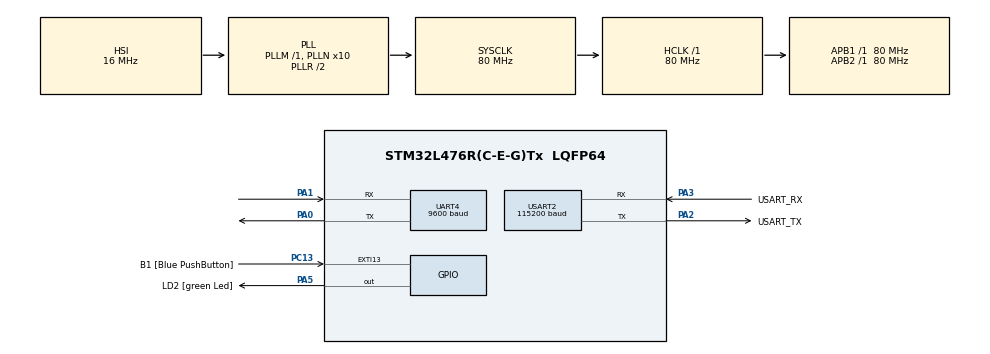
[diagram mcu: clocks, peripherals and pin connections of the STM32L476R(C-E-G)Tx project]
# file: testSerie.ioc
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Mcu.Family=STM32L4
Mcu.Name=STM32L476R(C-E-G)Tx
Mcu.Package=LQFP64
NVIC.EXTI15_10_IRQn=true\:0\:0\:false\:false\:true
NVIC.PriorityGroup=NVIC_PRIORITYGROUP_4
NVIC.RCC_IRQn=true\:0\:0\:false\:false\:true
PA0.Mode=Asynchronous
PA0.Signal=UART4_TX
PA1.Mode=Asynchronous
PA1.Signal=UART4_RX
PA13.Signal=SYS_JTMS-SWDIO
PA14.GPIO_Label=TCK
PA14.Signal=SYS_JTCK-SWCLK
PA2.GPIO_Label=USART_TX
PA2.GPIO_Mode=GPIO_MODE_AF_PP
PA2.GPIO_PuPd=GPIO_NOPULL
PA2.GPIO_Speed=GPIO_SPEED_FREQ_VERY_HIGH
PA2.Mode=Asynchronous
PA2.Signal=USART2_TX
PA3.GPIO_Label=USART_RX
PA3.GPIO_Mode=GPIO_MODE_AF_PP
PA3.GPIO_PuPd=GPIO_NOPULL
PA3.GPIO_Speed=GPIO_SPEED_FREQ_VERY_HIGH
PA3.Mode=Asynchronous
PA3.Signal=USART2_RX
PA5.GPIO_Label=LD2 [green Led]
PA5.GPIO_ModeDefaultOutputPP=GPIO_MODE_OUTPUT_PP
PA5.GPIO_PuPd=GPIO_NOPULL
PA5.GPIO_Speed=GPIO_SPEED_FREQ_LOW
PA5.Signal=GPIO_Output
PC13.GPIO_Label=B1 [Blue PushButton]
PC13.GPIO_ModeDefaultEXTI=GPIO_MODE_IT_FALLING
PC13.GPIO_PuPd=GPIO_NOPULL
PC13.Signal=GPXTI13
PC14/OSC32_IN.Signal=RCC_OSC32_IN
PC15/OSC32_OUT.Signal=RCC_OSC32_OUT
PH0/OSC_IN.Mode=HSE-External-Oscillator
PH0/OSC_IN.Signal=RCC_OSC_IN
PH1/OSC_OUT.Mode=HSE-External-Oscillator
PH1/OSC_OUT.Signal=RCC_OSC_OUT
ProjectManager.HeapSize=0x200
ProjectManager.StackSize=0x400
ProjectManager.TargetToolchain=EWARM
RCC.ADCFreq_Value=64000000
RCC.AHBFreq_Value=80000000
RCC.APB1Freq_Value=80000000
RCC.APB1TimFreq_Value=80000000
RCC.APB2Freq_Value=80000000
RCC.APB2TimFreq_Value=80000000
RCC.ClockTypeHCLK=RCC_CLOCKTYPE_HCLK
RCC.ClockTypePCLK1=RCC_CLOCKTYPE_PCLK1
RCC.ClockTypePCLK2=RCC_CLOCKTYPE_PCLK2
RCC.ClockTypeSysClk=RCC_CLOCKTYPE_SYSCLK
RCC.CortexFreq_Value=80000000
RCC.EnableCSSLSE=false
RCC.EnbaleCSS=false
RCC.HCLKFreq_Value=80000000
RCC.HSE_VALUE=8000000
RCC.HSI_VALUE=16000000
RCC.LSE_VALUE=32768
RCC.MSI_VALUE=4000000
RCC.PLLN=10
RCC.PLLSourceVirtual=RCC_PLLSOURCE_HSI
RCC.PREFETCH_ENABLE=1
RCC.SYSCLKFreq_VALUE=80000000
RCC.SYSCLKSource=RCC_SYSCLKSOURCE_PLLCLK
RCC.USBFreq_Value=64000000
RCC.VCOOutputFreq_Value=160000000
UART4.BaudRate=9600
UART4.HwFlowCtl-Asynchronous=UART_HWCONTROL_NONE
UART4.WordLength=WORDLENGTH_8B
USART2.BaudRate=115200
USART2.HwFlowCtl-Asynchronous=UART_HWCONTROL_NONE
USART2.VirtualMode-Asynchronous=VM_ASYNC
USART2.WordLength=WORDLENGTH_8B
board=NUCLEO-L476RG

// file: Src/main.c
/**
  ******************************************************************************
  * File Name          : main.c
  * Description        : Main program body
  ******************************************************************************
  *
  * COPYRIGHT(c) 2017 STMicroelectronics
  *
  * Redistribution and use in source and binary forms, with or without modification,
  * are permitted provided that the following conditions are met:
  *   1. Redistributions of source code must retain the above copyright notice,
  *      this list of conditions and the following disclaimer.
  *   2. Redistributions in binary form must reproduce the above copyright notice,
  *      this list of conditions and the following disclaimer in the documentation
  *      and/or other materials provided with the distribution.
  *   3. Neither the name of STMicroelectronics nor the names of its contributors
  *      may be used to endorse or promote products derived from this software
  *      without specific prior written permission.
  *
  * THIS SOFTWARE IS PROVIDED BY THE COPYRIGHT HOLDERS AND CONTRIBUTORS "AS IS"
  * AND ANY EXPRESS OR IMPLIED WARRANTIES, INCLUDING, BUT NOT LIMITED TO, THE
  * IMPLIED WARRANTIES OF MERCHANTABILITY AND FITNESS FOR A PARTICULAR PURPOSE ARE
  * DISCLAIMED. IN NO EVENT SHALL THE COPYRIGHT HOLDER OR CONTRIBUTORS BE LIABLE
  * FOR ANY DIRECT, INDIRECT, INCIDENTAL, SPECIAL, EXEMPLARY, OR CONSEQUENTIAL
  * DAMAGES (INCLUDING, BUT NOT LIMITED TO, PROCUREMENT OF SUBSTITUTE GOODS OR
  * SERVICES; LOSS OF USE, DATA, OR PROFITS; OR BUSINESS INTERRUPTION) HOWEVER
  * CAUSED AND ON ANY THEORY OF LIABILITY, WHETHER IN CONTRACT, STRICT LIABILITY,
  * OR TORT (INCLUDING NEGLIGENCE OR OTHERWISE) ARISING IN ANY WAY OUT OF THE USE
  * OF THIS SOFTWARE, EVEN IF ADVISED OF THE POSSIBILITY OF SUCH DAMAGE.
  *
  ******************************************************************************
  */
#include "main.h"
#include "stm32l4xx_hal.h"
#include <string.h>

UART_HandleTypeDef huart4;
UART_HandleTypeDef huart2;

/* USER CODE BEGIN PV */
/* Private variables ---------------------------------------------------------*/

uint16_t tDelay = 50;
char envoi = 0;

/* USER CODE END PV */

void SystemClock_Config(void);
void Error_Handler(void);
static void MX_GPIO_Init(void);
static void MX_UART4_Init(void);
static void MX_USART2_UART_Init(void);

/* USER CODE BEGIN PFP */
/* Private function prototypes -----------------------------------------------*/

/* USER CODE END PFP */

/* USER CODE BEGIN 0 */

float ReverseFloat( const float inFloat )
{
  float retVal;
  char *floatToConvert = ( char* ) & inFloat;
  char *returnFloat = ( char* ) & retVal;

  // swap the bytes into a temporary buffer
  returnFloat[0] = floatToConvert[3];
  returnFloat[1] = floatToConvert[2];
  returnFloat[2] = floatToConvert[1];
  returnFloat[3] = floatToConvert[0];

   return retVal;
}

unsigned floatToBits(float x)
{
    unsigned y;
    memcpy(&y, &x, 4);
    return y;
}

void sendData(float poids, float temp, float hygro)
{
  /*unsigned */char trame[35];

  sprintf(trame, "AT$SF= %x %x %x \n", floatToBits(ReverseFloat(poids)), floatToBits(ReverseFloat(temp)), floatToBits(ReverseFloat(hygro)));

  HAL_UART_Transmit(&huart4, (uint8_t*)trame, 35, 100);
}

/* USER CODE END 0 */

int main(void)
{

  /* MCU Configuration----------------------------------------------------------*/

  /* Reset of all peripherals, Initializes the Flash interface and the Systick. */
  HAL_Init();

  /* Configure the system clock */
  SystemClock_Config();

  /* Initialize all configured peripherals */
  MX_GPIO_Init();
  MX_UART4_Init();
  MX_USART2_UART_Init();

  /* USER CODE BEGIN 2 */

  //poids : 114.5 kg => 0x42e50000 => 0000e542
  //        268.9 kg => 0x43867333 => 33738643
  //temperature : 18.5 °c => 0x41940000 => 00009441
  //hygro : 65.5 % => 0x42830000 => 00008342

  //float poids = 114.5 ;
  //float temp = 21.6 ;
  //float hygro = 37.9 ;

  //char commandeCat[37];

  //uint8_t recu[10];
  /* USER CODE END 2 */

  /* Infinite loop */
  while (1)
  {

  /* USER CODE BEGIN 3 */

    //HAL_UART_Receive(&huart4, rec, 1, 10)

    if (envoi >= 1){

      //exemple commande : uint8_t commande[37] = "AT$SF= 0000e542 00009441 00008342\n\r" ;

      //ex transmit : HAL_UART_Transmit(&huart4, commande, 37, 10000);
      //ex recieve : HAL_UART_Receive(&huart4, recu, 10, 10);
      HAL_GPIO_TogglePin(GPIOA, GPIO_PIN_5);
      sendData(14.2,38,325.9);
      envoi = 0;
      //HAL_Delay(100);
      //HAL_Delay(641200); //cette ligne represent le delay maximum afin de ne pas depasser le forfait
    }
  }
  /* USER CODE END 3 */

}

/** System Clock Configuration
*/
void SystemClock_Config(void)
{

  RCC_OscInitTypeDef RCC_OscInitStruct;
  RCC_ClkInitTypeDef RCC_ClkInitStruct;
  RCC_PeriphCLKInitTypeDef PeriphClkInit;

    /**Initializes the CPU, AHB and APB busses clocks
    */
  RCC_OscInitStruct.OscillatorType = RCC_OSCILLATORTYPE_HSI;
  RCC_OscInitStruct.HSIState = RCC_HSI_ON;
  RCC_OscInitStruct.HSICalibrationValue = 16;
  RCC_OscInitStruct.PLL.PLLState = RCC_PLL_ON;
  RCC_OscInitStruct.PLL.PLLSource = RCC_PLLSOURCE_HSI;
  RCC_OscInitStruct.PLL.PLLM = 1;
  RCC_OscInitStruct.PLL.PLLN = 10;
  RCC_OscInitStruct.PLL.PLLP = RCC_PLLP_DIV7;
  RCC_OscInitStruct.PLL.PLLQ = RCC_PLLQ_DIV2;
  RCC_OscInitStruct.PLL.PLLR = RCC_PLLR_DIV2;
  if (HAL_RCC_OscConfig(&RCC_OscInitStruct) != HAL_OK)
  {
    Error_Handler();
  }

    /**Initializes the CPU, AHB and APB busses clocks
    */
  RCC_ClkInitStruct.ClockType = RCC_CLOCKTYPE_HCLK|RCC_CLOCKTYPE_SYSCLK
                              |RCC_CLOCKTYPE_PCLK1|RCC_CLOCKTYPE_PCLK2;
  RCC_ClkInitStruct.SYSCLKSource = RCC_SYSCLKSOURCE_PLLCLK;
  RCC_ClkInitStruct.AHBCLKDivider = RCC_SYSCLK_DIV1;
  RCC_ClkInitStruct.APB1CLKDivider = RCC_HCLK_DIV1;
  RCC_ClkInitStruct.APB2CLKDivider = RCC_HCLK_DIV1;

  if (HAL_RCC_ClockConfig(&RCC_ClkInitStruct, FLASH_LATENCY_4) != HAL_OK)
  {
    Error_Handler();
  }

  PeriphClkInit.PeriphClockSelection = RCC_PERIPHCLK_USART2|RCC_PERIPHCLK_UART4;
  PeriphClkInit.Usart2ClockSelection = RCC_USART2CLKSOURCE_PCLK1;
  PeriphClkInit.Uart4ClockSelection = RCC_UART4CLKSOURCE_PCLK1;
  if (HAL_RCCEx_PeriphCLKConfig(&PeriphClkInit) != HAL_OK)
  {
    Error_Handler();
  }

    /**Configure the main internal regulator output voltage
    */
  if (HAL_PWREx_ControlVoltageScaling(PWR_REGULATOR_VOLTAGE_SCALE1) != HAL_OK)
  {
    Error_Handler();
  }

    /**Configure the Systick interrupt time
    */
  HAL_SYSTICK_Config(HAL_RCC_GetHCLKFreq()/1000);

    /**Configure the Systick
    */
  HAL_SYSTICK_CLKSourceConfig(SYSTICK_CLKSOURCE_HCLK);

  /* SysTick_IRQn interrupt configuration */
  HAL_NVIC_SetPriority(SysTick_IRQn, 0, 0);
}

/* UART4 init function */
static void MX_UART4_Init(void)
{

  huart4.Instance = UART4;
  huart4.Init.BaudRate = 9600;
  huart4.Init.WordLength = UART_WORDLENGTH_8B;
  huart4.Init.StopBits = UART_STOPBITS_1;
  huart4.Init.Parity = UART_PARITY_NONE;
  huart4.Init.Mode = UART_MODE_TX_RX;
  huart4.Init.HwFlowCtl = UART_HWCONTROL_NONE;
  huart4.Init.OverSampling = UART_OVERSAMPLING_16;
  huart4.Init.OneBitSampling = UART_ONE_BIT_SAMPLE_DISABLE;
  huart4.AdvancedInit.AdvFeatureInit = UART_ADVFEATURE_NO_INIT;
  if (HAL_UART_Init(&huart4) != HAL_OK)
  {
    Error_Handler();
  }

}

/* USART2 init function */
static void MX_USART2_UART_Init(void)
{

  huart2.Instance = USART2;
  huart2.Init.BaudRate = 115200;
  huart2.Init.WordLength = UART_WORDLENGTH_8B;
  huart2.Init.StopBits = UART_STOPBITS_1;
  huart2.Init.Parity = UART_PARITY_NONE;
  huart2.Init.Mode = UART_MODE_TX_RX;
  huart2.Init.HwFlowCtl = UART_HWCONTROL_NONE;
  huart2.Init.OverSampling = UART_OVERSAMPLING_16;
  huart2.Init.OneBitSampling = UART_ONE_BIT_SAMPLE_DISABLE;
  huart2.AdvancedInit.AdvFeatureInit = UART_ADVFEATURE_NO_INIT;
  if (HAL_UART_Init(&huart2) != HAL_OK)
  {
    Error_Handler();
  }

}

/** Configure pins as
        * Analog
        * Input
        * Output
        * EVENT_OUT
        * EXTI
*/
static void MX_GPIO_Init(void)
{

  GPIO_InitTypeDef GPIO_InitStruct;

  /* GPIO Ports Clock Enable */
  __HAL_RCC_GPIOC_CLK_ENABLE();
  __HAL_RCC_GPIOH_CLK_ENABLE();
  __HAL_RCC_GPIOA_CLK_ENABLE();

  /*Configure GPIO pin Output Level */
  HAL_GPIO_WritePin(LD2_GPIO_Port, LD2_Pin, GPIO_PIN_RESET);

  /*Configure GPIO pin : B1_Pin */
  GPIO_InitStruct.Pin = B1_Pin;
  GPIO_InitStruct.Mode = GPIO_MODE_IT_FALLING;
  GPIO_InitStruct.Pull = GPIO_NOPULL;
  HAL_GPIO_Init(B1_GPIO_Port, &GPIO_InitStruct);

  /*Configure GPIO pin : LD2_Pin */
  GPIO_InitStruct.Pin = LD2_Pin;
  GPIO_InitStruct.Mode = GPIO_MODE_OUTPUT_PP;
  GPIO_InitStruct.Pull = GPIO_NOPULL;
  GPIO_InitStruct.Speed = GPIO_SPEED_FREQ_LOW;
  HAL_GPIO_Init(LD2_GPIO_Port, &GPIO_InitStruct);

  /* EXTI interrupt init*/
  HAL_NVIC_SetPriority(EXTI15_10_IRQn, 0, 0);
  HAL_NVIC_EnableIRQ(EXTI15_10_IRQn);

}

void Error_Handler(void)
{
  while(1)
  {
  }
}

/************************ (C) COPYRIGHT STMicroelectronics *****END OF FILE****/
